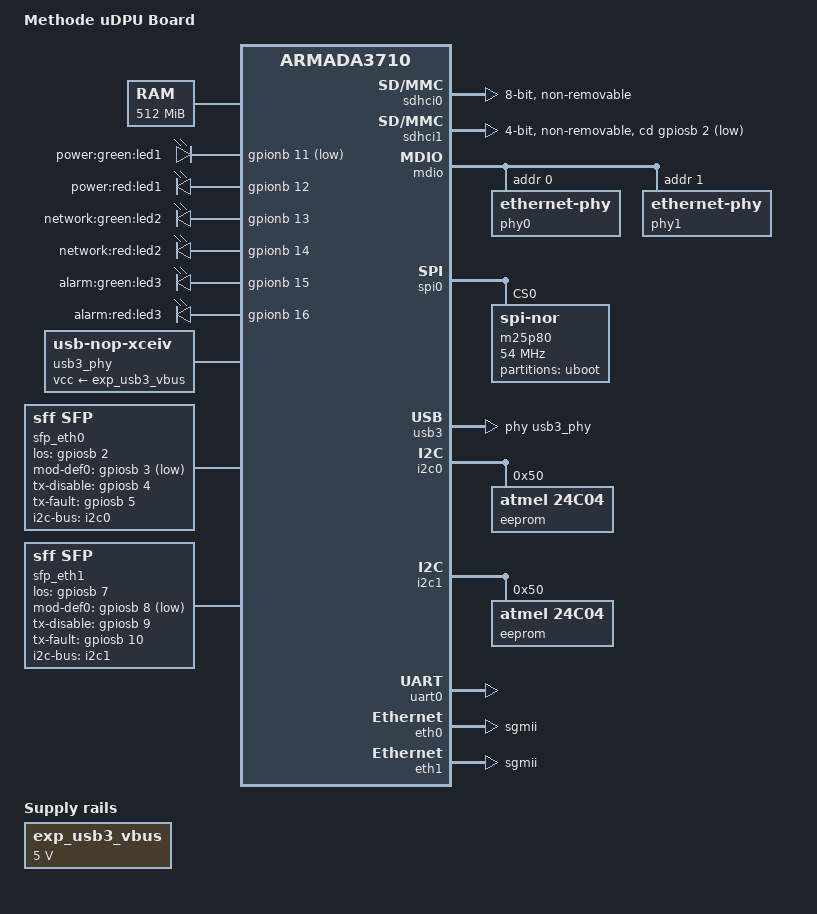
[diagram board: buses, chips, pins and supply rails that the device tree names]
/*
 * DTS for uDPU based on the following
 * Device Tree file for Marvell Armada 3720 development board
 * (DB-88F3720-DDR3)
 * Copyright (C) 2016 Marvell
 *
 * Gregory CLEMENT <gregory.clement@free-electrons.com>
 *
 * This file is dual-licensed: you can use it either under the terms
 * of the GPL or the X11 license, at your option. Note that this dual
 * licensing only applies to this file, and not this project as a
 * whole.
 *
 *  a) This file is free software; you can redistribute it and/or
 *     modify it under the terms of the GNU General Public License as
 *     published by the Free Software Foundation; either version 2 of the
 *     License, or (at your option) any later version.
 *
 *     This file is distributed in the hope that it will be useful
 *     but WITHOUT ANY WARRANTY; without even the implied warranty of
 *     MERCHANTABILITY or FITNESS FOR A PARTICULAR PURPOSE.  See the
 *     GNU General Public License for more details.
 *
 * Or, alternatively
 *
 *  b) Permission is hereby granted, free of charge, to any person
 *     obtaining a copy of this software and associated documentation
 *     files (the "Software"), to deal in the Software without
 *     restriction, including without limitation the rights to use
 *     copy, modify, merge, publish, distribute, sublicense, and/or
 *     sell copies of the Software, and to permit persons to whom the
 *     Software is furnished to do so, subject to the following
 *     conditions:
 *
 *     The above copyright notice and this permission notice shall be
 *     included in all copies or substantial portions of the Software.
 *
 *     THE SOFTWARE IS PROVIDED , WITHOUT WARRANTY OF ANY KIND
 *     EXPRESS OR IMPLIED, INCLUDING BUT NOT LIMITED TO THE WARRANTIES
 *     OF MERCHANTABILITY, FITNESS FOR A PARTICULAR PURPOSE AND
 *     NONINFRINGEMENT. IN NO EVENT SHALL THE AUTHORS OR COPYRIGHT
 *     HOLDERS BE LIABLE FOR ANY CLAIM, DAMAGES OR OTHER LIABILITY
 *     WHETHER IN AN ACTION OF CONTRACT, TORT OR OTHERWISE, ARISING
 *     FROM, OUT OF OR IN CONNECTION WITH THE SOFTWARE OR THE USE OR
 *     OTHER DEALINGS IN THE SOFTWARE.
 */

/dts-v1/;

#include <dt-bindings/gpio/gpio.h>
#include "armada-372x.dtsi"

/ {
	model = "Methode uDPU Board";
	compatible = "marvell,armada-3720-db", "marvell,armada3720", "marvell,armada3710";

	chosen {
		stdout-path = "serial0:115200n8";
	};

	memory {
		device_type = "memory";
		reg = <0x00000000 0x00000000 0x00000000 0x20000000>;
	};

	leds {
		pinctrl-names = "default";
		compatible = "gpio-leds";

		led@487 {
			label = "power:green:led1";
			gpios = <&gpionb 11 GPIO_ACTIVE_LOW>;
			linux,default-trigger = "heartbeat";
			default-state = "off";
		};

		led@488 {
			label = "power:red:led1";
			gpios = <&gpionb 12 GPIO_ACTIVE_HIGH>;
			linux,default-trigger = "heartbeat";
			default-state = "off";
		};

		led@489 {
			label = "network:green:led2";
			gpios = <&gpionb 13 GPIO_ACTIVE_HIGH>;
			linux,default-trigger = "network";
			default-state = "off";
		};

		led@490 {
			label = "network:red:led2";
			gpios = <&gpionb 14 GPIO_ACTIVE_HIGH>;
			linux,default-trigger = "network";
			default-state = "off";
		};

		led@491 {
			label = "alarm:green:led3";
			gpios = <&gpionb 15 GPIO_ACTIVE_HIGH>;
			linux,default-trigger = "alarm";
			default-state = "off";
		};

		led@492 {
			label = "alarm:red:led3";
			gpios = <&gpionb 16 GPIO_ACTIVE_HIGH>;
			linux,default-trigger = "alarm";
			default-state = "off";
		};
	};

	usb3_phy: usb3-phy {
		compatible = "usb-nop-xceiv";
		vcc-supply = <&exp_usb3_vbus>;
	};

	exp_usb3_vbus: usb3-vbus {
		compatible = "regulator-fixed";
		regulator-name = "usb3-vbus";
		regulator-min-microvolt = <5000000>;
		regulator-max-microvolt = <5000000>;
		enable-active-high;
		regulator-always-on;
	};

	sfp_eth0: sfp-eth0 {
		compatible = "sff,sfp";
		i2c-bus = <&i2c0>;
		los-gpio = <&gpiosb 2 GPIO_ACTIVE_HIGH>;
		mod-def0-gpio = <&gpiosb 3 GPIO_ACTIVE_LOW>;
		tx-disable-gpio = <&gpiosb 4 GPIO_ACTIVE_HIGH>;
		tx-fault-gpio = <&gpiosb 5 GPIO_ACTIVE_HIGH>;
	};

	sfp_eth1: sfp-eth1 {
		compatible = "sff,sfp";
		i2c-bus = <&i2c1>;
		los-gpio = <&gpiosb 7 GPIO_ACTIVE_HIGH>;
		mod-def0-gpio = <&gpiosb 8 GPIO_ACTIVE_LOW>;
		tx-disable-gpio = <&gpiosb 9 GPIO_ACTIVE_HIGH>;
		tx-fault-gpio = <&gpiosb 10 GPIO_ACTIVE_HIGH>;
	};
};

&sdhci0 {
	non-removable;
	bus-width = <8>;
	mmc-ddr-1_8v;
	mmc-hs400-1_8v;
	marvell,pad-type = "fixed-1-8v";
	status = "okay";
};

&sdhci1 {
	marvell,xenon-phy-type = "emmc 5.0 phy";
	cd-gpios = <&gpiosb 2 GPIO_ACTIVE_LOW>;
	bus-width = <4>;
	marvell,pad-type = "fixed-1-8v";
	status = "okay";
	non-removable;
	no-sd;
	no-sdio;
};

&mdio {
	status = "okay";
	phy0: ethernet-phy@0 {
		reg = <0>;
	};
	phy1: ethernet-phy@1 {
		reg = <1>;
	};
};

&spi0 {
	status = "okay";

	m25p80@0 {
		#address-cells = <1>;
		#size-cells = <1>;
		compatible = "jedec,spi-nor";
		reg = <0>; /* Chip select 0 */
		spi-max-frequency = <54000000>;

		pinctrl-names = "default";
		pinctrl-0 = <&spi_quad_pins>;

		partition@0 {
			label = "uboot";
			reg = <0 0x400000>;
		};
	};
};

/* CON31 */
&usb3 {
	status = "okay";
	usb-phy = <&usb3_phy>;
};

&i2c0 {
	status = "okay";
	pinctrl-names = "default";
	pinctrl-0 = <&i2c1_pins>;

	eeprom@50 {
		compatible = "atmel,24c04";
		reg = <0x50>;
	};
};

&i2c1 {
	status = "okay";
	pinctrl-names = "default";
	pinctrl-0 = <&i2c2_pins>;

	eeprom@50 {
		compatible = "atmel,24c04";
		reg = <0x50>;
	};
};

&uart0 {
	status = "okay";
};

&eth0 {
	phy-mode = "sgmii";
	status = "okay";
	managed = "in-band-status";
	sfp = <&sfp_eth0>;
};

&eth1 {
	phy-mode = "sgmii";
	status = "okay";
	managed = "in-band-status";
	sfp = <&sfp_eth1>;
};
